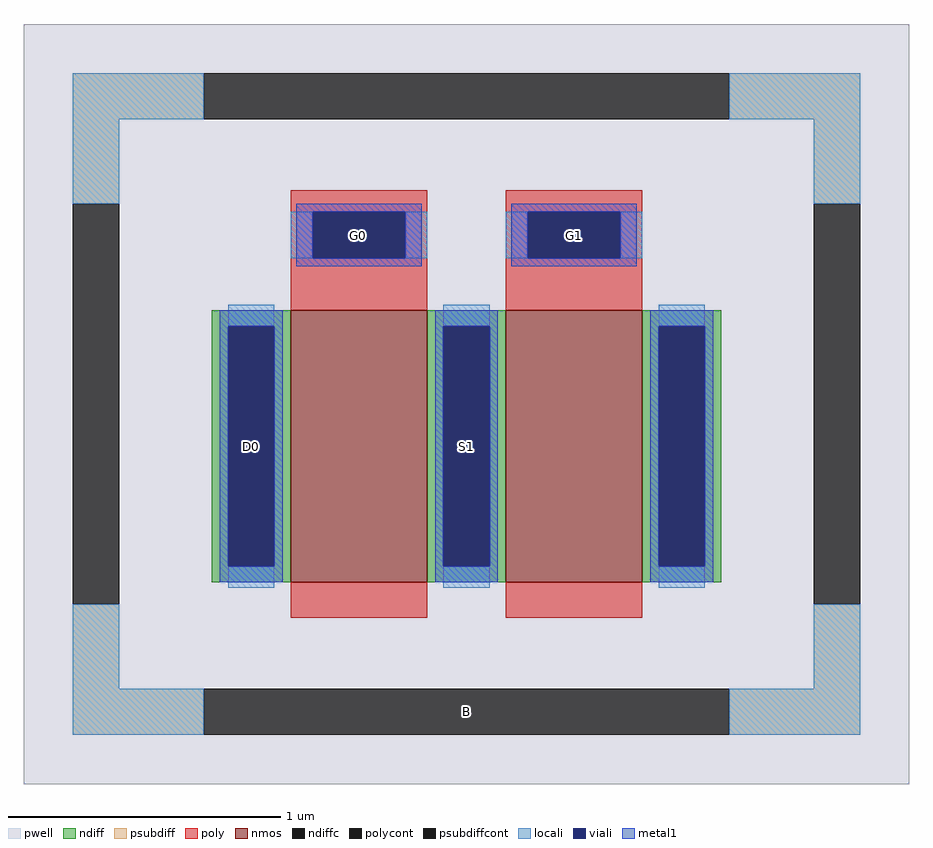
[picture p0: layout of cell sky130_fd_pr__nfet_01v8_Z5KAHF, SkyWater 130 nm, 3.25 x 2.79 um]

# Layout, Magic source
magic
tech sky130A
magscale 1 2
<< pwell >>
rect -325 -279 325 279
<< nmos >>
rect -129 -131 -29 69
rect 29 -131 129 69
<< ndiff >>
rect -187 57 -129 69
rect -187 -119 -175 57
rect -141 -119 -129 57
rect -187 -131 -129 -119
rect -29 57 29 69
rect -29 -119 -17 57
rect 17 -119 29 57
rect -29 -131 29 -119
rect 129 57 187 69
rect 129 -119 141 57
rect 175 -119 187 57
rect 129 -131 187 -119
<< ndiffc >>
rect -175 -119 -141 57
rect -17 -119 17 57
rect 141 -119 175 57
<< psubdiff >>
rect -289 209 -193 243
rect 193 209 289 243
rect -289 147 -255 209
rect 255 147 289 209
rect -289 -209 -255 -147
rect 255 -209 289 -147
rect -289 -243 -193 -209
rect 193 -243 289 -209
<< psubdiffcont >>
rect -193 209 193 243
rect -289 -147 -255 147
rect 255 -147 289 147
rect -193 -243 193 -209
<< poly >>
rect -129 141 -29 157
rect -129 107 -113 141
rect -45 107 -29 141
rect -129 69 -29 107
rect 29 141 129 157
rect 29 107 45 141
rect 113 107 129 141
rect 29 69 129 107
rect -129 -157 -29 -131
rect 29 -157 129 -131
<< polycont >>
rect -113 107 -45 141
rect 45 107 113 141
<< locali >>
rect -289 209 -193 243
rect 193 209 289 243
rect -289 147 -255 209
rect 255 147 289 209
rect -129 107 -113 141
rect -45 107 -29 141
rect 29 107 45 141
rect 113 107 129 141
rect -175 57 -141 73
rect -175 -135 -141 -119
rect -17 57 17 73
rect -17 -135 17 -119
rect 141 57 175 73
rect 141 -135 175 -119
rect -289 -209 -255 -147
rect 255 -209 289 -147
rect -289 -243 -193 -209
rect 193 -243 289 -209
<< viali >>
rect -113 107 -45 141
rect 45 107 113 141
rect -175 -119 -141 57
rect -17 -119 17 57
rect 141 -119 175 57
<< metal1 >>
rect -125 141 -33 147
rect -125 107 -113 141
rect -45 107 -33 141
rect -125 101 -33 107
rect 33 141 125 147
rect 33 107 45 141
rect 113 107 125 141
rect 33 101 125 107
rect -181 57 -135 69
rect -181 -119 -175 57
rect -141 -119 -135 57
rect -181 -131 -135 -119
rect -23 57 23 69
rect -23 -119 -17 57
rect 17 -119 23 57
rect -23 -131 23 -119
rect 135 57 181 69
rect 135 -119 141 57
rect 175 -119 181 57
rect 135 -131 181 -119
<< labels >>
rlabel psubdiffcont 0 -226 0 -226 0 B
port 1 nsew
rlabel ndiffc -158 -31 -158 -31 0 D0
port 2 nsew
rlabel polycont -79 124 -79 124 0 G0
port 3 nsew
rlabel ndiffc 0 -31 0 -31 0 S1
port 4 nsew
rlabel polycont 79 124 79 124 0 G1
port 5 nsew
<< properties >>
string FIXED_BBOX -272 -226 272 226
string gencell sky130_fd_pr__nfet_01v8
string library sky130
string parameters w 1 l 0.5 m 1 nf 2 diffcov 100 polycov 100 guard 1 glc 1 grc 1 gtc 1 gbc 1 tbcov 100 rlcov 100 topc 1 botc 0 poverlap 0 doverlap 1 lmin 0.15 wmin 0.42 class mosfet compatible {sky130_fd_pr__nfet_01v8 sky130_fd_pr__nfet_01v8_lvt  sky130_fd_bs_flash__special_sonosfet_star  sky130_fd_pr__nfet_g5v0d10v5 sky130_fd_pr__nfet_05v0_nvt  sky130_fd_pr__nfet_03v3_nvt} full_metal 1 conn_gates 0 viasrc 100 viadrn 100 viagate 100 viagb 0 viagr 0 viagl 0 viagt 0 doports 1
<< end >>
